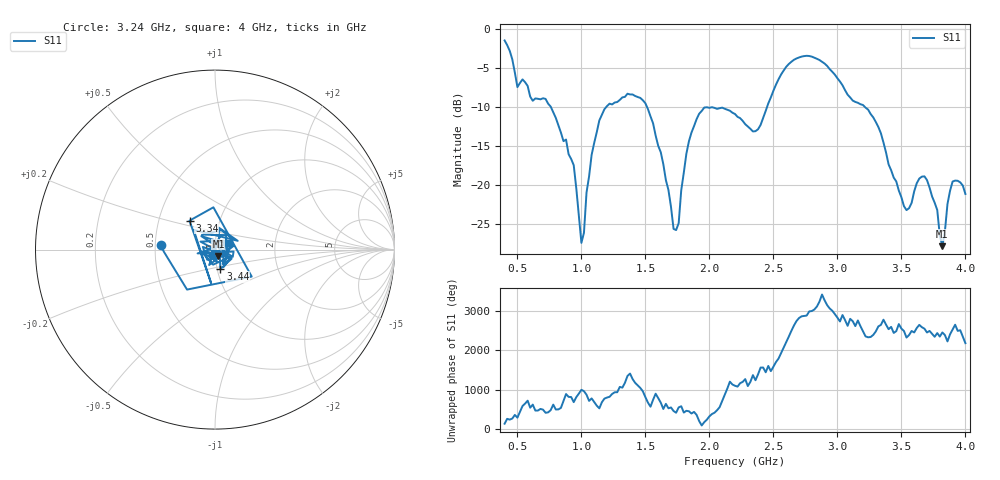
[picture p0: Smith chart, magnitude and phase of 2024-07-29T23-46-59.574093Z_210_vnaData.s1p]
!Created with skrf (http://scikit-rf.org).
# Hz S RI R 50.0
!freq ReS11 ImS11
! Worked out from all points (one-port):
!   181 points, 400 MHz to 4 GHz, reference 50 ohm
!   lowest |S11| = -27.8 dB at 3.82 GHz (marker M1), VSWR 1.08, Z = 51.8 - j3.73 ohm
!   |S11| at or under -10 dB: 761.7 MHz to 1.194 GHz (432 MHz wide, 44.2 % of centre); 1.513 GHz to 2.45 GHz (937.2 MHz wide, 47.3 % of centre); 3.216 GHz to end of sweep
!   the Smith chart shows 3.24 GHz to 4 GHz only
!   S11 on the Smith chart (normalised r, x): 3.24 GHz: 0.53, +0.03; 3.34 GHz: 0.72, +0.24; 3.44 GHz: 1.04, -0.23; 4 GHz: 1.17, +0.09
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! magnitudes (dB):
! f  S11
! 400 MHz  -1.5
! 500 MHz  -7.4
! 720 MHz  -9.0
! 860 MHz  -14.4
! 940 MHz  -17.4
! 1 GHz  -27.4
! 1.08 GHz  -16.1
! 1.14 GHz  -11.7
! 1.3 GHz  -9.1
! 1.5 GHz  -9.5
! 1.62 GHz  -15.8
! 1.72 GHz  -25.6
! 1.76 GHz  -24.9
! 1.82 GHz  -16.0
! 1.92 GHz  -10.9
! 2.2 GHz  -10.9
! 2.38 GHz  -12.8
! 2.66 GHz  -4.0
! 2.86 GHz  -4.0
! 3.1 GHz  -8.8
! 3.24 GHz  -10.3
! 3.34 GHz  -13.4
! 3.44 GHz  -19.0
! 3.56 GHz  -22.9
! 3.68 GHz  -18.9
! 3.82 GHz  -27.8
! 3.9 GHz  -19.5
! 4 GHz  -21.1
